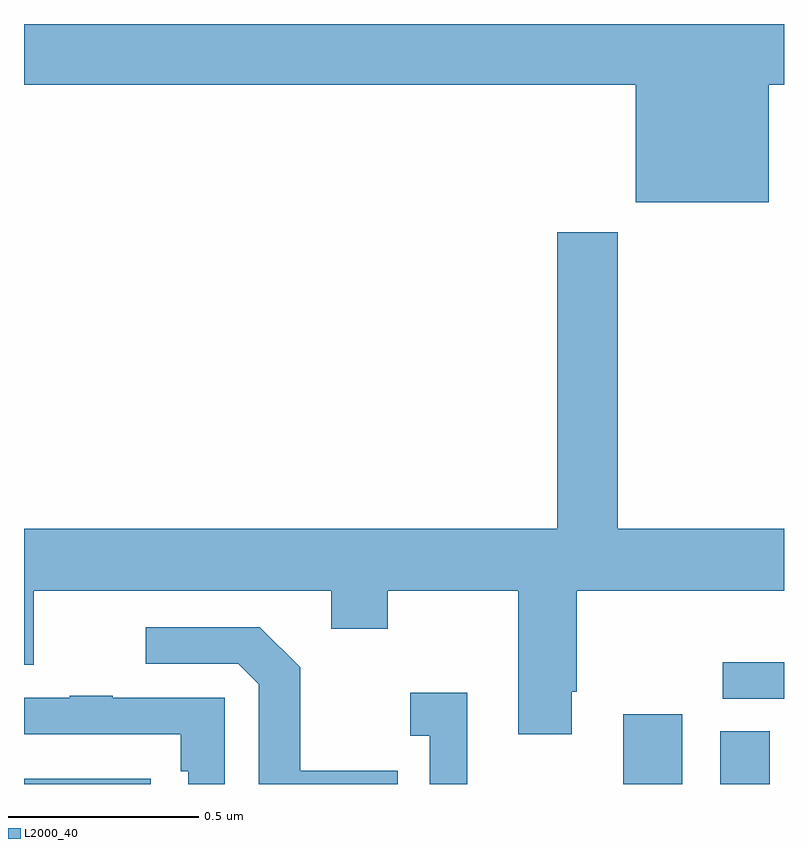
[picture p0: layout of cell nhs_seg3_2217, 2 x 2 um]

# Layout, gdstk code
import gdstk
lib = gdstk.Library(unit=1e-6, precision=1e-09)
def R(c, l, rs):  # rectangles x0, y0, x1, y1
    for r in rs: c.add(gdstk.rectangle(r[:2], r[2:], *l))
def P(c, l, *ps):  # polygons
    for p in ps: c.add(gdstk.Polygon(p, *l))
L2000_40 = (2000, 40)

nhs_seg3_2217 = lib.new_cell('nhs_seg3_2217')
R(nhs_seg3_2217, L2000_40, [(138,708.4,138.334,708.414), (139.577,708.4,139.732,708.583), (139.832,708.4,139.963,708.539), (139.839,708.624,140,708.72)])
P(nhs_seg3_2217, L2000_40, [(139.96,710.24),(140,710.24),(140,710.4),(138,710.4),(138,710.24),(139.61,710.24),(139.61,709.931),(139.96,709.931)],
  [(139.441,708.643),(139.454,708.643),(139.454,708.908),(140,708.908),(140,709.072),(139.563,709.072),(139.563,709.852),(139.403,709.852),(139.403,709.072),(138,709.072),(138,708.714),(138.025,708.714),(138.025,708.908),(138.809,708.908),(138.809,708.809),(138.957,708.809),(138.957,708.908),(139.301,708.908),(139.301,708.531),(139.441,708.531)],
  [(138.983,708.435),(138.727,708.435),(138.727,708.707),(138.621,708.813),(138.321,708.813),(138.321,708.717),(138.564,708.717),(138.618,708.663),(138.618,708.4),(138.983,708.4)],
  [(139.166,708.64),(139.017,708.64),(139.017,708.527),(139.068,708.527),(139.068,708.4),(139.166,708.4)],
  [(138.528,708.627),(138.233,708.627),(138.233,708.632),(138.121,708.632),(138.121,708.627),(138,708.627),(138,708.531),(138.412,708.531),(138.412,708.434),(138.432,708.434),(138.432,708.4),(138.528,708.4)])

lib.write_gds('nhs_seg3_2217.gds')
